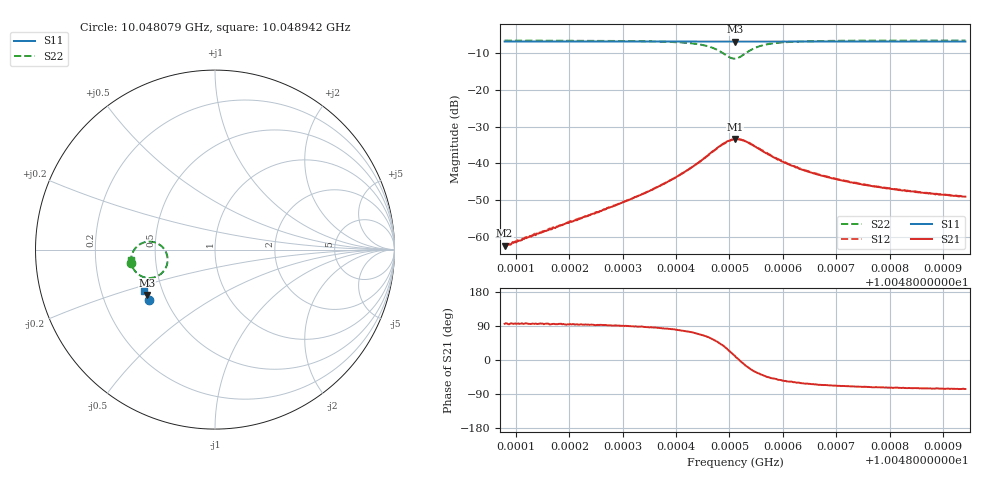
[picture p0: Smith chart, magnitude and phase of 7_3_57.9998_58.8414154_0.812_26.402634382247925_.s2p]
#  HZ  S  RI  R  50.00
! Rohde & Schwarz Vector Network Analyzer
! Rohde-Schwarz,ZNB20-2Port,1311601062101988,3.16
! Created: UTC 3/21/2024, 12:50:38 AM
! freq[Hz]  re:S11  im:S11  re:S21  im:S21  re:S12  im:S12  re:S22  im:S22
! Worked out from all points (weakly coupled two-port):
!   401 points, 10.048079 GHz to 10.048942 GHz, reference 50 ohm
!   highest |S21| = -33.36 dB at 10.04851 GHz (marker M1); lowest = -62.4 dB at 10.048079 GHz (marker M2)
!   lowest |S11| = -6.8 dB at 10.04851 GHz (marker M3), VSWR 2.68, Z = 20.1 - j13 ohm
!   |S11| at or under -10 dB: nowhere
!   |S22| runs from -11.4 to -6.5 dB; largest |S21 - S12| = 0.0018
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1.00480788e10  -0.3649 -0.2794  -7.28e-05 0.000752  -0.000154 0.00073  -0.4675 -0.0735
1.00480874e10  -0.3652 -0.279  -5.64e-05 0.000786  -0.000126 0.00078  -0.4676 -0.0725
1.00481219e10  -0.3666 -0.2772  -0.0001 0.000977  -0.000151 0.000997  -0.4679 -0.0684
1.00482234e10  -0.3706 -0.2714  -0.000121 0.00179  -0.000213 0.00181  -0.4675 -0.0538
1.00483097e10  -0.3737 -0.2664  3.45e-05 0.00313  -0.000169 0.00319  -0.4649 -0.0356
1.00483679e10  -0.376 -0.2629  0.000458 0.00489  0.000198 0.0049  -0.4583 -0.016
1.00484176e10  -0.3776 -0.2601  0.00187 0.00756  0.00142 0.00765  -0.4411 0.0107
1.00484521e10  -0.3785 -0.2576  0.00505 0.0106  0.00443 0.0107  -0.4066 0.036
1.00484694e10  -0.3788 -0.2566  0.0087 0.0119  0.0078 0.0123  -0.3717 0.0445
1.00484845e10  -0.379 -0.2557  0.0134 0.0116  0.0124 0.0126  -0.3279 0.0376
1.00485017e10  -0.3789 -0.2549  0.0193 0.00754  0.0185 0.0091  -0.2766 -0.00747
1.00485104e10  -0.3788 -0.2546  0.0211 0.00392  0.0208 0.00537  -0.2646 -0.0452
1.00485233e10  -0.3792 -0.2548  0.0207 -0.00231  0.0209 -0.000564  -0.2748 -0.1026
1.00485363e10  -0.3799 -0.2546  0.0178 -0.00674  0.0185 -0.00539  -0.3086 -0.1408
1.00485514e10  -0.3806 -0.2541  0.0136 -0.00903  0.0145 -0.00825  -0.3508 -0.1572
1.00485665e10  -0.3816 -0.2534  0.0104 -0.00958  0.0112 -0.00884  -0.3836 -0.1567
1.00486075e10  -0.3836 -0.2508  0.00549 -0.00832  0.00617 -0.008  -0.4301 -0.1352
1.0048655e10  -0.3855 -0.2482  0.0033 -0.00668  0.00374 -0.00654  -0.4502 -0.1135
1.00487219e10  -0.388 -0.2442  0.002 -0.00526  0.00235 -0.00523  -0.4611 -0.0936
1.00487996e10  -0.3907 -0.2397  0.00135 -0.00435  0.00164 -0.0043  -0.4665 -0.0783
1.00488686e10  -0.3931 -0.2358  0.00102 -0.00379  0.00126 -0.00378  -0.4691 -0.0683
1.0048942e10  -0.3954 -0.2314  0.000822 -0.00343  0.00105 -0.00343  -0.4707 -0.0595
